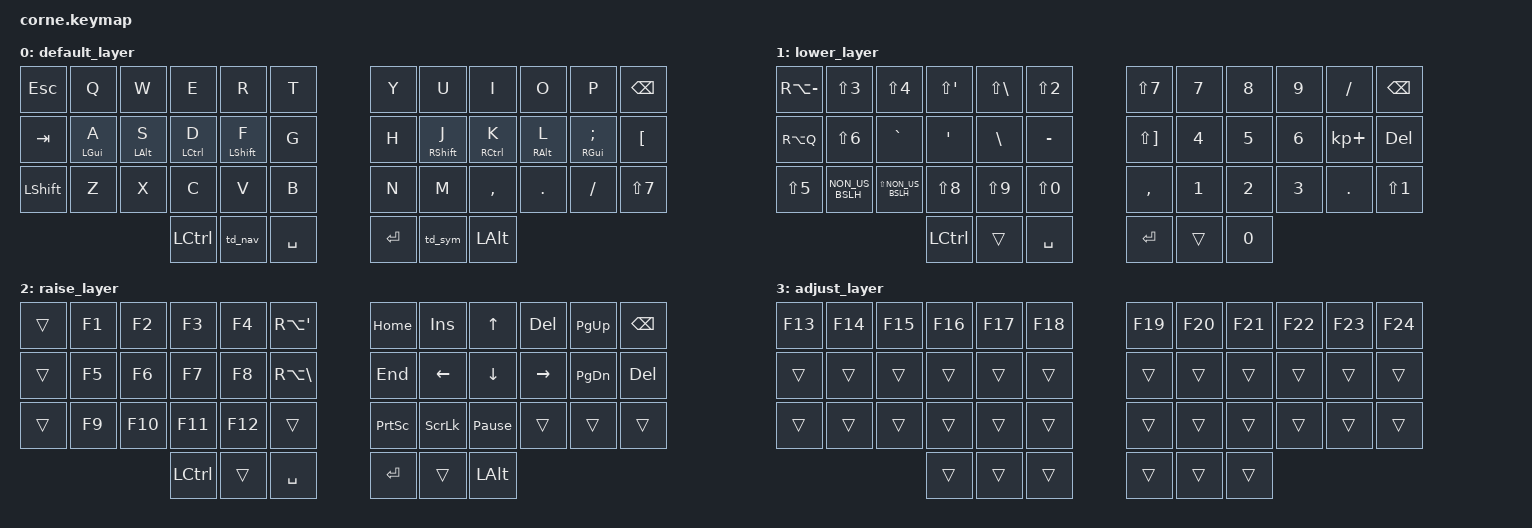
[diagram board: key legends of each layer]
#include <behaviors.dtsi>
#include <dt-bindings/zmk/keys.h>
#include <dt-bindings/zmk/bt.h>

/ {
    macros {
        m_arrow: m_arrow {
            compatible = "zmk,behavior-macro";
            #binding-cells = <0>;
            bindings = <&kp SLASH &kp LS(NON_US_BSLH)>;
        };

        m_fat_arrow: m_fat_arrow {
            compatible = "zmk,behavior-macro";
            #binding-cells = <0>;
            bindings = <&kp LS(N0) &kp LS(NON_US_BSLH)>;
        };
    };

    behaviors {
        hm: homerow_mods {
            compatible = "zmk,behavior-hold-tap";
            label = "HOMEROW_MODS";
            #binding-cells = <2>;
            tapping-term-ms = <200>;
            quick-tap-ms = <200>;
            require-prior-idle-ms = <125>; // Anti-rolling recuperado
            flavor = "tap-preferred";
            bindings = <&kp>, <&kp>;
        };

        // Tap dance para layer 1 (Símbolos/Números)
        td_nav: tap_dance_nav {
            compatible = "zmk,behavior-tap-dance";
            #binding-cells = <0>;
            tapping-term-ms = <200>;
            bindings = <&mo 1>, <&tog 1>; // 1 toque = &mo, 2 toques = &tog (bloquea)
        };

        // tap dance para layer 2 (FunctionsF1-F12/Navegación)
        td_sym: tap_dance_sym {
            compatible = "zmk,behavior-tap-dance";
            #binding-cells = <0>;
            tapping-term-ms = <200>;
            bindings = <&mo 2>, <&tog 2>;
        };
    };

    // Si layer 1 y layer 2 están activas al mismo tiempo => activa layer 3
    conditional_layers {
        compatible = "zmk,conditional-layers";
        tri_layer {
            if-layers = <1 2>;
            then-layer = <3>;
        };
    };

    keymap {
        compatible = "zmk,keymap";

        default_layer {
            // Capa 0: QWERTY con Home Row Mods adaptado a Latam
            bindings = <
//  ESC        Q          W          E           R           T            Y        U           I           O          P         BackSpace
&kp ESC    &kp Q      &kp W      &kp E       &kp R       &kp T        &kp Y    &kp U       &kp I       &kp O      &kp P         &kp BSPC
//         (Super)    (Alt)      (Ctrl)      (Shift)                               (Shift)     (Ctrl)      (Alt)      (Ñ)         (Acento ´)
&kp TAB    &hm LGUI A &hm LALT S &hm LCTRL D &hm LSHFT F &kp G        &kp H    &hm RSHFT J &hm RCTRL K &hm RALT L &hm RGUI SEMI &kp LBKT
// Shift       z          x          C           V           B            N        M            ,          .          -             /
&kp LSHFT  &kp Z      &kp X      &kp C       &kp V       &kp B        &kp N    &kp M       &kp COMMA   &kp DOT    &kp SLASH     &kp LS(N7)
                                 &kp LCTRL   &td_nav     &kp SPACE    &kp RET  &td_sym     &kp LALT
            >;
        };

        lower_layer {
            // Capa 1: Símbolos y Números (Pulgar Izquierdo)
            bindings = <
//    \             \#               $             [           ]            "                /            7        8        9         -          BSPC
&kp RA(MINUS) &kp LS(N3)       &kp LS(N4)      &kp LS(SQT) &kp LS(BSLH) &kp LS(N2)       &kp LS(N7)   &kp N7   &kp N8   &kp N9  &kp SLASH    &kp BSPC
//    @             &                |             {           }            '                *            4        5        6       +            DEL
&kp RA(Q)     &kp LS(N6)       &kp GRAVE       &kp SQT     &kp BSLH     &kp MINUS        &kp LS(RBKT) &kp N4   &kp N5   &kp N6  &kp KP_PLUS  &kp DEL
//    %             <                >             (          )             =                ,            1        2        3       .            !
&kp LS(N5)    &kp NON_US_BSLH  &kp LS(NON_US_BSLH) &kp LS(N8) &kp LS(N9) &kp LS(N0)      &kp COMMA    &kp N1   &kp N2   &kp N3  &kp DOT      &kp LS(N1)
                                               &kp LCTRL   &trans       &kp SPACE        &kp RET      &trans   &kp N0
            >;
        };

        raise_layer {
            // Capa 2: Funciones y Movimientos (Pulgar Derecho)
            bindings = <
//                                                           ^
&trans     &kp F1     &kp F2     &kp F3      &kp F4      &kp RA(SQT)         &kp HOME   &kp INS   &kp UP            &kp DEL      &kp PG_UP    &kp BSPC
//                                                           `       
&trans     &kp F5     &kp F6     &kp F7      &kp F8      &kp RA(BSLH)        &kp END    &kp LEFT  &kp DOWN          &kp RIGHT    &kp PG_DN    &kp DEL 
//
&trans     &kp F9     &kp F10    &kp F11     &kp F12     &trans              &kp PSCRN  &kp SLCK  &kp PAUSE_BREAK   &trans       &trans       &trans
//
                                 &kp LCTRL   &trans      &kp SPACE           &kp RET    &trans    &kp LALT
            >;
        };

        adjust_layer {
            // Capa 3: Activada al presionar pulgar izquierdo y derecho a la vez
            bindings = <
&kp F13    &kp F14    &kp F15    &kp F16     &kp F17     &kp F18           &kp F19    &kp F20     &kp F21     &kp F22    &kp F23     &kp F24
&trans     &trans     &trans     &trans      &trans      &trans            &trans     &trans      &trans      &trans     &trans      &trans 
&trans     &trans     &trans     &trans      &trans      &trans            &trans     &trans      &trans      &trans     &trans      &trans
                                 &trans      &trans      &trans            &trans     &trans      &trans
            >;
        };
    };
};


/*
    // [L_BASE] = LAYOUT_split_3x6_3(      HR: LGUI LALT LCTRL LSHIFT         RSHIFT RCTRL RALT RGUI
    //,-----------------------------------------------------.                    ,-----------------------------------------------------.
    //   KC_ESC,    KP_Q,    KP_W,    KP_E,    KP_R,    KP_T,                         KP_Y,    KP_U,    KP_I,    KP_O,   KP_P,  KP_BSPC,
    //|--------+--------+--------+--------+--------+--------|                    |--------+--------+--------+--------+--------+--------|
    //   KC_TAB,    KP_A,    KP_S,    KP_D,    KP_F,    KP_G,                         KP_H,    KP_J,    KP_K,    KP_L, KP_NTIL, KP_ACUT,
    //|--------+--------+--------+--------+--------+--------|                    |--------+--------+--------+--------+--------+--------|
    //  KC_LSFT,    KP_Z,    KP_X,    KP_C,    KP_V,    KP_B,                         KP_N,    KP_M, KP_COMM,  KP_DOT, KP_MINS,KP_SLASH,
    //|--------+--------+--------+--------+--------+--------+--------|  |--------+--------+--------+--------+--------+--------+--------|
                                        //  KC_LGUI,   MO(1),  KC_SPC,     KC_ENT,   MO(2), KC_LALT
                                        //`--------------------------'  `--------------------------'

    // [L_UPPER] = LAYOUT_split_3x6_3(
    //,-----------------------------------------------------.                    ,-----------------------------------------------------.
    //   KC_ESC,   KC_F1,   KC_F2,   KC_F3,   KC_F4,  KC_APP,                       KC_INS, KC_HOME,   KC_UP,  KC_END, KC_PGUP, KC_BSPC,
    //|--------+--------+--------+--------+--------+--------|                    |--------+--------+--------+--------+--------+--------|
    //  KC_LCTL,   KC_F5,   KC_F6,   KC_F7,   KC_F8, KC_PSCR,                       KC_DEL, KC_LEFT, KC_DOWN, KC_RGHT, KC_PGDN, ES_DIAE,
    //|--------+--------+--------+--------+--------+--------|                    |--------+--------+--------+--------+--------+--------|
    //  KC_LSFT,   KC_F9,  KC_F10,  KC_F11,  KC_F12, KC_PAUS,                      XXXXXXX, XXXXXXX, ES_SCLN, ES_COLN, ES_UNDS, KC_RSFT,
    //|--------+--------+--------+--------+--------+--------+--------|  |--------+--------+--------+--------+--------+--------+--------|
                                        //  KC_LGUI, _______,  KC_SPC,     KC_ENT, _______, KC_LALT
                                        //`--------------------------'  `--------------------------'

    // [L_RIGHT] = LAYOUT_split_3x6_3(
    //,-----------------------------------------------------.                    ,-----------------------------------------------------.
    //  KC_CAPS, ES_EXLM, ES_DQUO, ES_HASH, ES_CIRC, XXXXXXX,                      ES_ASTR,    ES_7,    ES_8,    ES_9, ES_MINS, KC_BSPC,
    //|--------+--------+--------+--------+--------+--------|                    |--------+--------+--------+--------+--------+--------|
    //  KC_LCTL, ES_LCBR, ES_RCBR, ES_LPRN, ES_RPRN, ES_QUES,                      ES_SLSH,    ES_4,    ES_5,    ES_6, ES_PLUS, ES_QUOT,
    //|--------+--------+--------+--------+--------+--------|                    |--------+--------+--------+--------+--------+--------|
    //  KC_LSFT, ES_LBRC, ES_RBRC, ES_LABK, ES_RABK,  ES_EQL,                         ES_0,    ES_1,    ES_2,    ES_3,  ES_DOT, KC_RSFT,
    //|--------+--------+--------+--------+--------+--------+--------|  |--------+--------+--------+--------+--------+--------+--------|
                                        //  KC_LGUI, _______,  KC_SPC,     KC_ENT, _______, KC_LALT
                                        //`--------------------------'  `--------------------------'

    // [L_UPPER_RIGHT] = LAYOUT_split_3x6_3(
    //,-----------------------------------------------------.                    ,-----------------------------------------------------.
    //  XXXXXXX, ES_IEXL,   ES_AT, ES_EURO,  ES_DLR, XXXXXXX,                      XXXXXXX, XXXXXXX, XXXXXXX, ES_MORD, XXXXXXX, KC_BSPC,
    //|--------+--------+--------+--------+--------+--------|                    |--------+--------+--------+--------+--------+--------|
    //  KC_LCTL, ES_FORD, ES_AMPR, ES_PIPE, ES_BSLS, ES_IQUE,                      XXXXXXX, XXXXXXX, XXXXXXX, XXXXXXX, ES_TILD,  ES_GRV,
    //|--------+--------+--------+--------+--------+--------|                    |--------+--------+--------+--------+--------+--------|
    //  KC_LSFT, XXXXXXX,  ES_NOT, ES_CCED, ES_PERC, XXXXXXX,                      RGB_TOG, RGB_MOD, RGB_HUI, RGB_SAI, RGB_VAI, KC_RSFT,
    //|--------+--------+--------+--------+--------+--------+--------|  |--------+--------+--------+--------+--------+--------+--------|
                                        //  KC_LGUI, _______,  KC_SPC,     KC_ENT, _______, KC_LALT
                                        //`--------------------------'  `--------------------------'


*/
